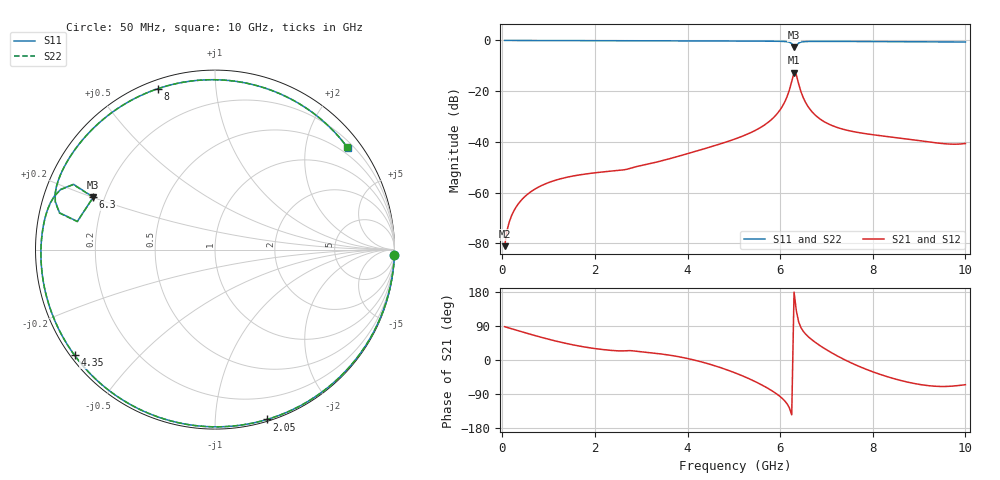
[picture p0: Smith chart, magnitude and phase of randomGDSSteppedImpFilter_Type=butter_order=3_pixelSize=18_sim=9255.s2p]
! freq	dB(S11)	phase(S11)	dB(S12)	phase(S12)
!  dB(S21)	phase(S21)	dB(S22)	phase(S22)
!S-par simulation data
#  GHz  S  DB  R 50
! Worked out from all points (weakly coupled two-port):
!   200 points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, 50 MHz to 10 GHz, reference 50 ohm
!   highest |S21| = -12.75 dB at 6.3 GHz (marker M1); lowest = -81.1 dB at 50 MHz (marker M2)
!   lowest |S11| = -2.6 dB at 6.3 GHz (marker M3), VSWR 6.64, Z = 7.84 + j10.1 ohm
!   |S11| at or under -10 dB: nowhere
!   |S22| runs from -2.6 to 0.0 dB; largest |S21 - S12| = 0
!   S11 on the Smith chart (normalised r, x): 50 MHz: 0, -61; 2.05 GHz: 0.01, -1.35; 4.35 GHz: 0.01, -0.33; 6.3 GHz: 0.16, +0.20; 8 GHz: 0.04, +0.71; 10 GHz: 0.34, +2.92
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0.05  -0.00 -1.9  -81.06 87.9  -81.06 87.9  -0.00 -1.9
0.2  -0.01 -7.4  -69.06 82.5  -69.06 82.5  -0.01 -7.4
0.5  -0.03 -18.5  -61.31 71.7  -61.31 71.7  -0.03 -18.5
1  -0.05 -36.6  -56.00 54.8  -56.00 54.8  -0.05 -36.6
1.75  -0.08 -62.9  -52.75 34.9  -52.75 34.9  -0.08 -62.8
2.05  -0.09 -72.9  -52.05 29.4  -52.05 29.4  -0.09 -72.9
2.7  -0.11 -93.9  -50.71 24.6  -50.71 24.6  -0.11 -93.9
3.4  -0.14 -115.3  -47.62 16.3  -47.62 16.3  -0.14 -115.3
4.35  -0.18 -143.0  -42.74 -6.6  -42.74 -6.6  -0.18 -143.0
5.05  -0.22 -163.0  -38.66 -35.1  -38.66 -35.1  -0.22 -162.9
5.9  -0.31 171.6  -29.59 -87.4  -29.59 -87.4  -0.31 171.6
6.15  -0.50 161.6  -22.12 -115.7  -22.12 -115.7  -0.50 161.7
6.25  -1.23 155.2  -16.10 -144.5  -16.10 -144.5  -1.23 155.3
6.3  -2.64 156.7  -12.75 179.1  -12.75 179.1  -2.63 156.8
6.35  -2.13 168.4  -13.58 129.5  -13.58 129.5  -2.13 168.5
6.5  -0.50 160.5  -22.59 75.6  -22.59 75.6  -0.50 160.6
6.7  -0.38 152.4  -28.34 51.9  -28.34 51.9  -0.38 152.5
7.2  -0.38 135.8  -34.09 12.9  -34.09 12.9  -0.38 135.9
8  -0.43 109.5  -37.14 -31.1  -37.14 -31.1  -0.43 109.6
8.35  -0.46 97.5  -37.95 -45.4  -37.95 -45.4  -0.46 97.6
9.15  -0.53 68.9  -39.84 -67.0  -39.84 -67.0  -0.53 69.1
10  -0.62 37.4  -40.59 -65.2  -40.59 -65.2  -0.61 37.6
